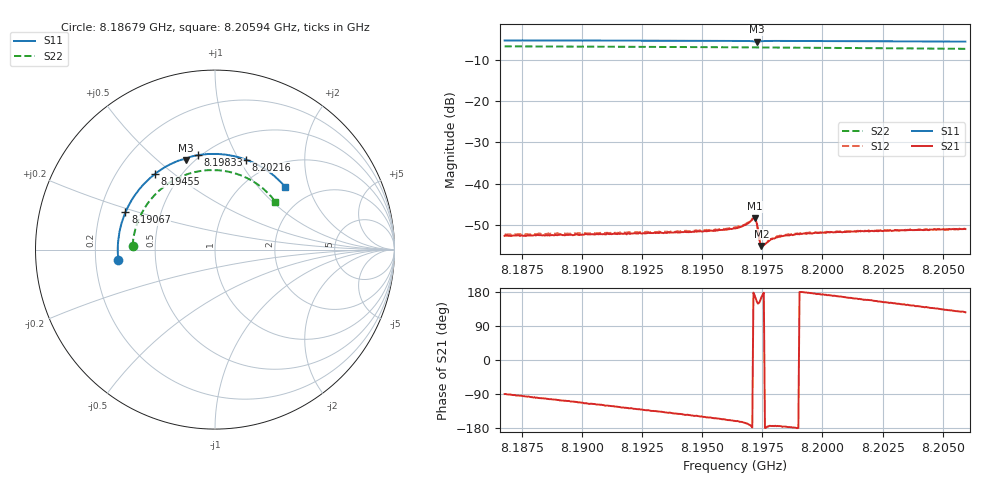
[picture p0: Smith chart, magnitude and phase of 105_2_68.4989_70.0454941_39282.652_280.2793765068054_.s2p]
#  HZ  S  RI  R  50.00
! Rohde & Schwarz Vector Network Analyzer
! Rohde-Schwarz,ZNB20-2Port,1311601062101988,3.16
! Created: UTC 3/20/2024, 5:08:22 PM
! freq[Hz]  re:S11  im:S11  re:S21  im:S21  re:S12  im:S12  re:S22  im:S22
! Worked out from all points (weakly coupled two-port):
!   401 points, 8.18679 GHz to 8.20594 GHz, reference 50 ohm
!   highest |S21| = -48.40 dB at 8.19718 GHz (marker M1); lowest = -55.2 dB at 8.19747 GHz (marker M2)
!   lowest |S11| = -5.6 dB at 8.19727 GHz (marker M3), VSWR 3.20, Z = 22.7 + j31.1 ohm
!   |S11| at or under -10 dB: nowhere
!   |S22| runs from -7.3 to -6.7 dB; largest |S21 - S12| = 0.0002
!   S11 on the Smith chart (normalised r, x): 8.18679 GHz: 0.30, -0.05; 8.19067 GHz: 0.31, +0.18; 8.19455 GHz: 0.36, +0.43; 8.19833 GHz: 0.48, +0.71; 8.20216 GHz: 0.77, +1.07; 8.20594 GHz: 1.47, +1.42
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8.186791e9  -0.5391 -0.0573  6.06e-06 -0.00232  -3.51e-05 -0.00243  -0.4593 0.0201
8.188419e9  -0.5386 0.0564  -0.000455 -0.00232  -0.000509 -0.00239  -0.445 0.1095
8.189998e9  -0.5152 0.1644  -0.000935 -0.00221  -0.00101 -0.00227  -0.4144 0.1917
8.190669e9  -0.4989 0.2083  -0.00113 -0.00215  -0.00121 -0.00216  -0.3966 0.2245
8.193206e9  -0.4033 0.3577  -0.00181 -0.00174  -0.00194 -0.00175  -0.3065 0.3327
8.194546e9  -0.3341 0.4219  -0.00215 -0.00143  -0.00225 -0.00142  -0.2464 0.3772
8.196365e9  -0.2233 0.4878  -0.00269 -0.000949  -0.00282 -0.000854  -0.1541 0.4204
8.196748e9  -0.1971 0.4978  -0.00301 -0.000808  -0.00307 -0.000681  -0.1335 0.4267
8.197083e9  -0.1709 0.5027  -0.00365 -0.000134  -0.00375 -3.61e-05  -0.115 0.4315
8.197179e9  -0.1639 0.5006  -0.00375 0.000605  -0.00381 0.000763  -0.1099 0.4324
8.197226e9  -0.1621 0.4986  -0.00349 0.0011  -0.00352 0.00128  -0.1072 0.433
8.197274e9  -0.1623 0.4976  -0.00292 0.00143  -0.00292 0.00156  -0.1047 0.4335
8.19737e9  -0.1624 0.5015  -0.0019 0.00104  -0.00189 0.0012  -0.0995 0.4346
8.197466e9  -0.1575 0.5076  -0.00169 0.000424  -0.00167 0.0005  -0.0942 0.4358
8.197561e9  -0.1505 0.5117  -0.00178 7.62e-05  -0.0018 0.000165  -0.0888 0.4368
8.197897e9  -0.1258 0.5198  -0.0021 -0.000211  -0.00215 -0.000107  -0.0701 0.4397
8.198327e9  -0.0951 0.5262  -0.0023 -0.000153  -0.00235 -9.99e-05  -0.0459 0.442
8.199572e9  -0.0068 0.5335  -0.00247 0.00016  -0.0025 0.0003  0.0248 0.4413
8.202157e9  0.1725 0.5016  -0.00242 0.00108  -0.0024 0.0012  0.167 0.4039
8.202779e9  0.213 0.4848  -0.00234 0.00132  -0.00232 0.0014  0.1989 0.388
8.204215e9  0.3006 0.4334  -0.00207 0.00177  -0.00204 0.00187  0.2673 0.3405
8.205938e9  0.3902 0.3505  -0.00164 0.00227  -0.00161 0.00232  0.3359 0.267
